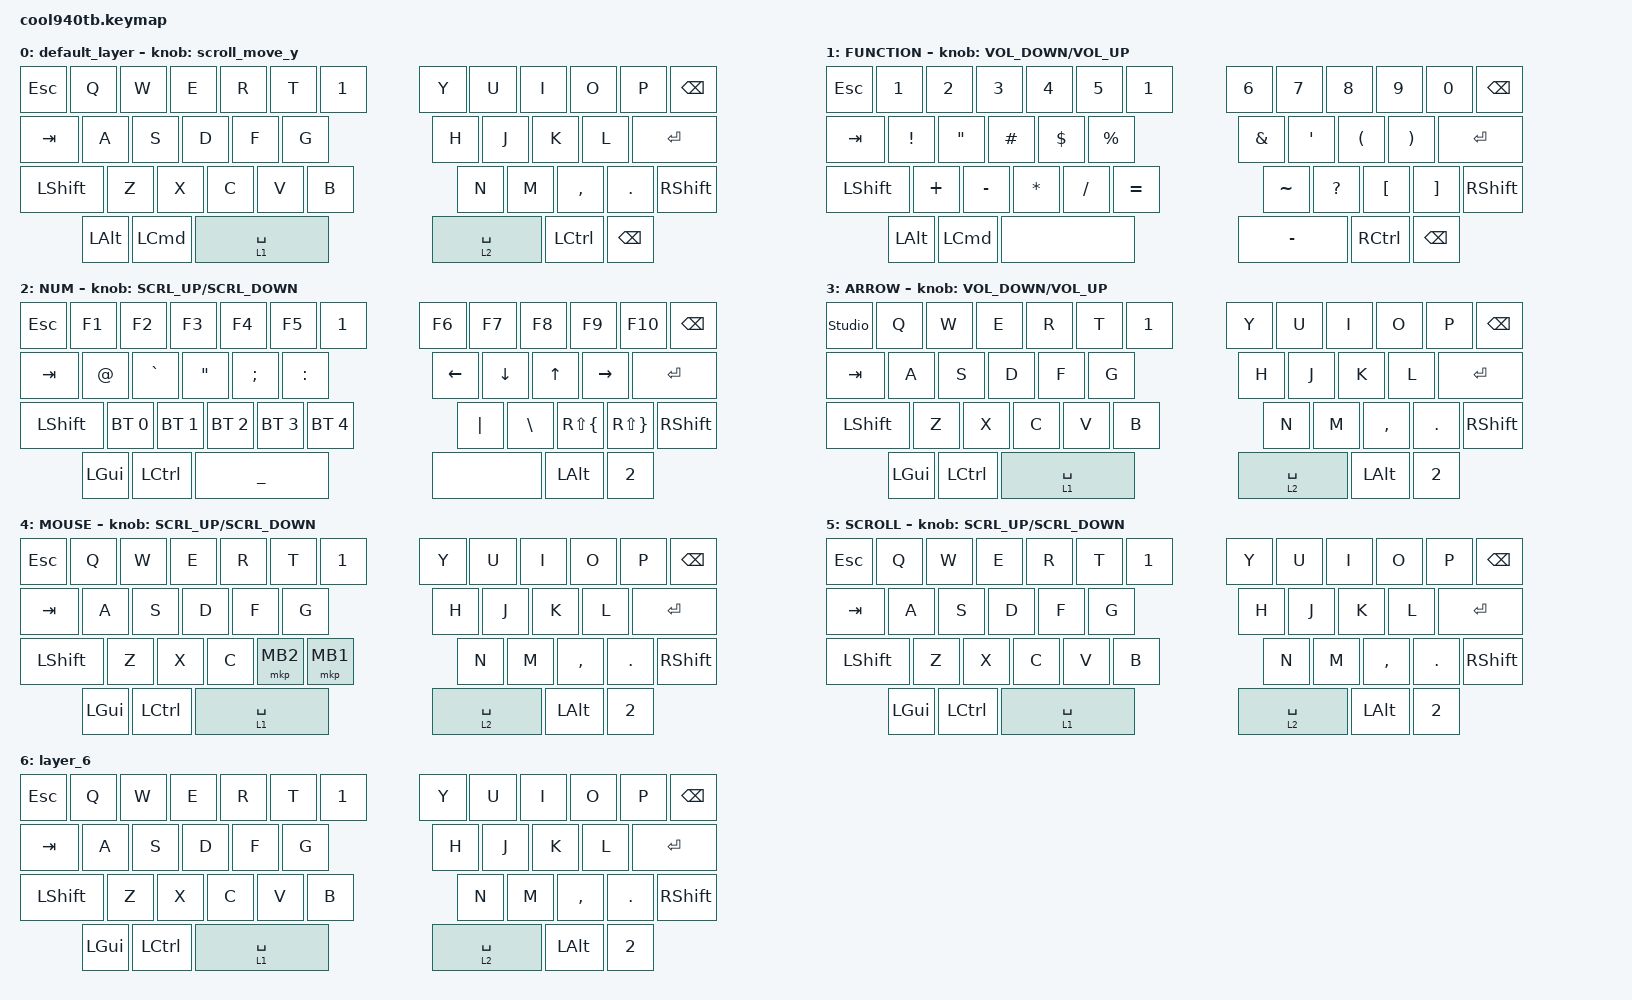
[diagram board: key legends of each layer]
#include <behaviors.dtsi>
#include <dt-bindings/zmk/bt.h>
#include <dt-bindings/zmk/keys.h>
#include <dt-bindings/zmk/pointing.h>

#define MOUSE 4
#define SCROLL 5
#define NUM 6

&mt {
    flavor = "balanced";
    quick-tap-ms = <300>;
};

&lt { quick-tap-ms = <300>; };

/ {
    combos {
        compatible = "zmk,combos";

        scroll {
            bindings = <&mo 5>;
            key-positions = <17 18>;
        };

        mb3 {
            bindings = <&mkp MB3>;
            key-positions = <19 18>;
        };
    };

    behaviors {
        right_click: right_click_behavior {
            compatible = "zmk,behavior-mouse-key";
            label = "RIGHT_CLICK";
            #binding-cells = <0>;

            // 右クリックは通常 MB2 に対応（ZMKの標準定義）

            bindings = <&mkp MB2>;
        };
    };

    keymap {
        compatible = "zmk,keymap";

        default_layer {
            bindings = <
&kp ESC     &kp Q  &kp W         &kp E             &kp R        &kp T        &kp N1            &kp Y          &kp U      &kp I       &kp O       &kp P  &kp BSPC
&kp TAB     &kp A  &kp S         &kp D             &kp F        &kp G        &kp H             &kp J          &kp K      &kp L       &kp ENTER
&kp LSHIFT  &kp Z  &kp X         &kp C             &kp V        &kp B        &kp N             &kp M          &kp COMMA  &kp PERIOD  &kp RSHIFT
                   &kp LEFT_ALT  &kp LEFT_COMMAND  &lt 1 SPACE  &lt 2 SPACE  &kp LEFT_CONTROL  &kp BACKSPACE
            >;

            sensor-bindings = <&scroll_move_y>;

        };

        FUNCTION {
            bindings = <
&kp ESC     &kp NUMBER_1     &kp NUMBER_2       &kp NUMBER_3      &kp NUMBER_4  &kp N5       &kp N1             &kp NUMBER_6   &kp N7                &kp N8                 &kp N9      &kp N0  &kp BSPC
&kp TAB     &kp EXCLAMATION  &kp DOUBLE_QUOTES  &kp HASH          &kp DOLLAR    &kp PERCENT  &kp AMPERSAND      &kp SQT        &kp LEFT_PARENTHESIS  &kp RIGHT_PARENTHESIS  &kp ENTER
&kp LSHIFT  &kp PLUS         &kp MINUS          &kp ASTERISK      &kp SLASH     &kp EQUAL    &kp TILDE          &kp QUESTION   &kp LEFT_BRACKET      &kp RIGHT_BRACKET      &kp RSHIFT
                             &kp LEFT_ALT       &kp LEFT_COMMAND  &none         &kp MINUS    &kp RIGHT_CONTROL  &kp BACKSPACE
            >;

            sensor-bindings = <&inc_dec_kp C_VOLUME_DOWN C_VOLUME_UP>;

        };

        NUM {
            bindings = <
&kp ESC     &kp F1        &kp F2        &kp F3             &kp F4          &kp F5        &kp N1          &kp F6          &kp F7              &kp F8               &kp F9      &kp F10  &kp BSPC
&kp TAB     &kp AT_SIGN   &kp GRAVE     &kp DOUBLE_QUOTES  &kp SEMICOLON   &kp COLON     &kp LEFT_ARROW  &kp DOWN_ARROW  &kp UP_ARROW        &kp RIGHT_ARROW      &kp ENTER
&kp LSHIFT  &bt BT_SEL 0  &bt BT_SEL 1  &bt BT_SEL 2       &bt BT_SEL 3    &bt BT_SEL 4  &kp PIPE        &kp BACKSLASH   &kp RS(LEFT_BRACE)  &kp RS(RIGHT_BRACE)  &kp RSHIFT
                          &kp LGUI      &kp LCTRL          &kp UNDERSCORE  &none         &kp LALT        &kp N2
            >;
 
            sensor-bindings = <&rot_msc SCRL_UP SCRL_DOWN>;
           
        };

        ARROW {
            bindings = <
&studio_unlock     &kp Q  &kp W     &kp E      &kp R        &kp T        &kp N1    &kp Y   &kp U      &kp I       &kp O       &kp P  &kp BSPC
&kp TAB     &kp A  &kp S     &kp D      &kp F        &kp G        &kp H     &kp J   &kp K      &kp L       &kp ENTER
&kp LSHIFT  &kp Z  &kp X     &kp C      &kp V        &kp B        &kp N     &kp M   &kp COMMA  &kp PERIOD  &kp RSHIFT
                   &kp LGUI  &kp LCTRL  &lt 1 SPACE  &lt 2 SPACE  &kp LALT  &kp N2
            >;

            sensor-bindings = <&inc_dec_kp C_VOLUME_DOWN C_VOLUME_UP>;

        };

        MOUSE {
            bindings = <
&kp ESC     &kp Q  &kp W     &kp E      &kp R        &kp T        &kp N1    &kp Y   &kp U      &kp I       &kp O       &kp P  &kp BSPC
&kp TAB     &kp A  &kp S     &kp D      &kp F        &kp G        &kp H     &kp J   &kp K      &kp L       &kp ENTER
&kp LSHIFT  &kp Z  &kp X     &kp C      &mkp MB2     &mkp MB1     &kp N     &kp M   &kp COMMA  &kp PERIOD  &kp RSHIFT
                   &kp LGUI  &kp LCTRL  &lt 1 SPACE  &lt 2 SPACE  &kp LALT  &kp N2
            >;

            sensor-bindings = <&rot_msc SCRL_UP SCRL_DOWN>;

        };

        SCROLL {
            bindings = <
&kp ESC     &kp Q  &kp W     &kp E      &kp R        &kp T        &kp N1    &kp Y   &kp U      &kp I       &kp O       &kp P  &kp BSPC
&kp TAB     &kp A  &kp S     &kp D      &kp F        &kp G        &kp H     &kp J   &kp K      &kp L       &kp ENTER
&kp LSHIFT  &kp Z  &kp X     &kp C      &kp V        &kp B        &kp N     &kp M   &kp COMMA  &kp PERIOD  &kp RSHIFT
                   &kp LGUI  &kp LCTRL  &lt 1 SPACE  &lt 2 SPACE  &kp LALT  &kp N2
            >;

            sensor-bindings = <&rot_msc SCRL_UP SCRL_DOWN>;

        };

        layer_6 {
            bindings = <
&kp ESC     &kp Q  &kp W     &kp E      &kp R        &kp T        &kp N1    &kp Y   &kp U      &kp I       &kp O       &kp P  &kp BSPC
&kp TAB     &kp A  &kp S     &kp D      &kp F        &kp G        &kp H     &kp J   &kp K      &kp L       &kp ENTER
&kp LSHIFT  &kp Z  &kp X     &kp C      &kp V        &kp B        &kp N     &kp M   &kp COMMA  &kp PERIOD  &kp RSHIFT
                   &kp LGUI  &kp LCTRL  &lt 1 SPACE  &lt 2 SPACE  &kp LALT  &kp N2
            >;
        };
    };
};
